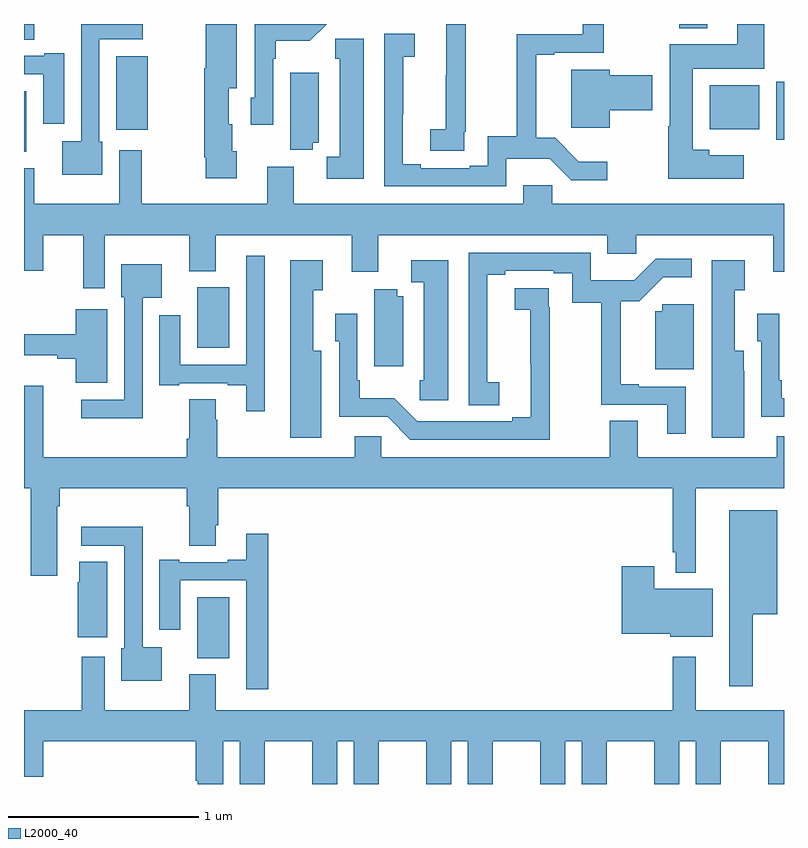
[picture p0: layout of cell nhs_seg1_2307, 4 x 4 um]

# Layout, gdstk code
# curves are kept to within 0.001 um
import gdstk
lib = gdstk.Library(unit=1e-6, precision=1e-09)
def R(c, l, rs):  # rectangles x0, y0, x1, y1
    for r in rs: c.add(gdstk.rectangle(r[:2], r[2:], *l))
def P(c, l, *ps):  # polygons
    for p in ps: c.add(gdstk.Polygon(p, *l))
L2000_40 = (2000, 40)

nhs_seg1_2307 = lib.new_cell('nhs_seg1_2307')
R(nhs_seg1_2307, L2000_40, [(237.911,526.862,238.081,527.182), (237.911,528.494,238.081,528.814), (237,529.526,237.013,529.846), (240.959,529.589,241,529.894), (237.485,529.643,237.652,530.029), (240.608,529.646,240.871,529.876), (237,530.116,237.055,530.199), (240.448,530.177,240.595,530.199)])
P(nhs_seg1_2307, L2000_40, [(240.787,529.507),(240.607,529.507),(240.607,529.537),(240.52,529.537),(240.52,529.964),(240.895,529.964),(240.895,530.199),(240.755,530.199),(240.755,530.092),(240.398,530.092),(240.398,529.661),(240.391,529.661),(240.391,529.385),(240.787,529.385)],
  [(237.412,529.578),(237.396,529.578),(237.396,530.118),(237.625,530.118),(237.625,530.199),(237.3,530.199),(237.3,529.582),(237.2,529.582),(237.2,529.406),(237.412,529.406)],
  [(239.318,529.633),(239.324,529.633),(239.324,530.199),(239.222,530.199),(239.222,529.929),(239.221,529.929),(239.221,529.646),(239.139,529.646),(239.139,529.531),(239.318,529.531)],
  [(239.538,529.49),(239.767,529.49),(239.88,529.377),(240.07,529.377),(240.07,529.474),(239.921,529.474),(239.795,529.6),(239.696,529.6),(239.696,530.037),(239.791,530.037),(239.791,530.049),(240.052,530.049),(240.052,530.199),(239.942,530.199),(239.942,530.145),(239.593,530.145),(239.593,529.607),(239.442,529.607),(239.442,529.454),(239.345,529.454),(239.345,529.44),(239.089,529.44),(239.089,529.46),(238.993,529.46),(238.993,529.723),(238.995,529.723),(238.995,530.027),(239.056,530.027),(239.056,530.147),(238.896,530.147),(238.896,529.344),(239.538,529.344)],
  [(238.311,530.015),(238.324,530.015),(238.324,530.111),(238.505,530.111),(238.593,530.199),(238.215,530.199),(238.215,529.812),(238.194,529.812),(238.194,529.668),(238.311,529.668)],
  [(238.12,529.53),(238.096,529.53),(238.096,529.671),(238.078,529.671),(238.078,529.862),(238.12,529.862),(238.12,530.199),(237.956,530.199),(237.956,529.966),(237.949,529.966),(237.949,529.498),(237.956,529.498),(237.956,529.386),(238.12,529.386)],
  [(238.789,530.122),(238.639,530.122),(238.639,530.016),(238.661,530.016),(238.661,529.5),(238.593,529.5),(238.593,529.385),(238.789,529.385)],
  [(237.211,530.044),(237.107,530.044),(237.107,530.031),(237,530.031),(237,529.935),(237.101,529.935),(237.101,529.674),(237.211,529.674)],
  [(240.082,529.745),(240.307,529.745),(240.307,529.928),(240.082,529.928),(240.082,529.957),(239.879,529.957),(239.879,529.652),(240.082,529.652)],
  [(238.52,529.574),(238.552,529.574),(238.552,529.942),(238.4,529.942),(238.4,529.537),(238.52,529.537)],
  [(237.424,529.088),(237.869,529.088),(237.869,528.899),(238.009,528.899),(238.009,529.088),(238.724,529.088),(238.724,528.894),(238.864,528.894),(238.864,529.088),(240.071,529.088),(240.071,528.99),(240.223,528.99),(240.223,529.088),(240.944,529.088),(240.944,528.894),(241,528.894),(241,529.252),(239.779,529.252),(239.779,529.35),(239.627,529.35),(239.627,529.252),(238.42,529.252),(238.42,529.447),(238.28,529.447),(238.28,529.252),(237.621,529.252),(237.621,529.534),(237.5,529.534),(237.5,529.252),(237.055,529.252),(237.055,529.441),(237,529.441),(237,528.9),(237.1,528.9),(237.1,529.088),(237.311,529.088),(237.311,528.807),(237.424,528.807)],
  [(240.484,528.291),(240.235,528.291),(240.235,528.304),(240.14,528.304),(240.14,528.741),(240.239,528.741),(240.365,528.866),(240.514,528.866),(240.514,528.963),(240.324,528.963),(240.211,528.85),(239.982,528.85),(239.982,528.996),(239.34,528.996),(239.34,528.193),(239.5,528.193),(239.5,528.313),(239.439,528.313),(239.439,528.617),(239.437,528.617),(239.437,528.88),(239.533,528.88),(239.533,528.9),(239.789,528.9),(239.789,528.886),(239.886,528.886),(239.886,528.733),(240.037,528.733),(240.037,528.195),(240.386,528.195),(240.386,528.042),(240.484,528.042)],
  [(238.267,528.979),(238.17,528.979),(238.17,528.405),(237.823,528.405),(237.823,528.667),(237.713,528.667),(237.713,528.297),(237.817,528.297),(237.817,528.309),(238.073,528.309),(238.073,528.297),(238.169,528.297),(238.169,528.162),(238.267,528.162)],
  [(240.79,528.374),(240.789,528.374),(240.789,528.478),(240.742,528.478),(240.742,528.799),(240.793,528.799),(240.793,528.955),(240.62,528.955),(240.62,528.021),(240.79,528.021)],
  [(239.233,528.955),(239.037,528.955),(239.037,528.84),(239.105,528.84),(239.105,528.324),(239.083,528.324),(239.083,528.219),(239.233,528.219)],
  [(238.564,528.478),(238.522,528.478),(238.522,528.799),(238.573,528.799),(238.573,528.955),(238.4,528.955),(238.4,528.021),(238.564,528.021)],
  [(237.624,528.758),(237.724,528.758),(237.724,528.934),(237.512,528.934),(237.512,528.762),(237.528,528.762),(237.528,528.222),(237.3,528.222),(237.3,528.125),(237.624,528.125)],
  [(239.768,528.707),(239.762,528.707),(239.762,528.809),(239.583,528.809),(239.583,528.694),(239.665,528.694),(239.666,528.128),(239.57,528.128),(239.57,528.108),(239.07,528.108),(238.949,528.229),(238.768,528.229),(238.768,528.325),(238.755,528.325),(238.755,528.673),(238.638,528.673),(238.638,528.528),(238.659,528.528),(238.659,528.132),(238.914,528.132),(239.034,528.012),(239.768,528.012)],
  [(238.996,528.766),(238.964,528.766),(238.964,528.803),(238.844,528.803),(238.844,528.399),(238.996,528.399)],
  [(240.526,528.724),(240.36,528.724),(240.36,528.688),(240.323,528.688),(240.323,528.383),(240.526,528.383)],
  [(237.439,528.697),(237.272,528.697),(237.272,528.565),(237,528.565),(237,528.455),(237.176,528.455),(237.176,528.436),(237.272,528.436),(237.272,528.311),(237.439,528.311)],
  [(241,528.229),(240.988,528.229),(240.988,528.325),(240.975,528.325),(240.975,528.673),(240.858,528.673),(240.858,528.528),(240.879,528.528),(240.879,528.132),(241,528.132)],
  [(238.017,528.116),(238.009,528.116),(238.009,528.224),(237.869,528.224),(237.869,528.016),(237.857,528.016),(237.857,527.92),(237.1,527.92),(237.1,528.295),(237,528.295),(237,527.756),(237.035,527.756),(237.035,527.295),(237.175,527.295),(237.175,527.66),(237.188,527.66),(237.188,527.756),(237.857,527.756),(237.857,527.66),(237.869,527.66),(237.869,527.452),(238.009,527.452),(238.009,527.56),(238.022,527.56),(238.022,527.756),(240.414,527.756),(240.414,527.419),(240.431,527.419),(240.431,527.312),(240.535,527.312),(240.535,527.756),(241,527.756),(241,528.03),(240.962,528.03),(240.962,527.92),(240.229,527.92),(240.229,528.11),(240.082,528.11),(240.082,527.92),(238.881,527.92),(238.881,528.03),(238.742,528.03),(238.742,527.92),(238.017,527.92)],
  [(240.835,527.093),(240.964,527.093),(240.964,527.641),(240.713,527.641),(240.713,526.713),(240.835,526.713)],
  [(237.724,526.918),(237.624,526.918),(237.624,527.552),(237.3,527.552),(237.3,527.454),(237.528,527.454),(237.528,526.914),(237.512,526.914),(237.512,526.742),(237.724,526.742)],
  [(238.286,527.515),(238.169,527.515),(238.169,527.38),(238.073,527.38),(238.073,527.367),(237.817,527.367),(237.817,527.38),(237.713,527.38),(237.713,527.01),(237.823,527.01),(237.823,527.271),(238.17,527.271),(238.17,526.698),(238.286,526.698)],
  [(237.439,527.369),(237.29,527.369),(237.29,527.261),(237.283,527.261),(237.283,526.971),(237.439,526.971)],
  [(240.625,527.227),(240.316,527.227),(240.316,527.344),(240.146,527.344),(240.146,526.991),(240.402,526.991),(240.402,526.973),(240.625,526.973)],
  [(238.009,526.777),(237.869,526.777),(237.869,526.588),(237.424,526.588),(237.424,526.87),(237.304,526.87),(237.304,526.588),(237,526.588),(237,526.236),(237.1,526.236),(237.1,526.424),(237.905,526.424),(237.905,526.216),(237.914,526.216),(237.914,526.199),(238.048,526.199),(238.048,526.424),(238.136,526.424),(238.136,526.199),(238.266,526.199),(238.266,526.216),(238.267,526.216),(238.267,526.424),(238.517,526.424),(238.517,526.216),(238.518,526.216),(238.518,526.199),(238.648,526.199),(238.648,526.424),(238.736,526.424),(238.736,526.199),(238.866,526.199),(238.866,526.216),(238.867,526.216),(238.867,526.424),(239.117,526.424),(239.117,526.216),(239.118,526.216),(239.118,526.199),(239.248,526.199),(239.248,526.424),(239.336,526.424),(239.336,526.199),(239.466,526.199),(239.466,526.216),(239.467,526.216),(239.467,526.424),(239.717,526.424),(239.717,526.216),(239.718,526.216),(239.718,526.199),(239.848,526.199),(239.848,526.424),(239.936,526.424),(239.936,526.199),(240.066,526.199),(240.066,526.216),(240.067,526.216),(240.067,526.424),(240.317,526.424),(240.317,526.216),(240.318,526.216),(240.318,526.199),(240.448,526.199),(240.448,526.424),(240.536,526.424),(240.536,526.199),(240.666,526.199),(240.666,526.216),(240.667,526.216),(240.667,526.424),(240.917,526.424),(240.917,526.216),(240.918,526.216),(240.918,526.199),(241,526.199),(241,526.588),(240.535,526.588),(240.535,526.87),(240.414,526.87),(240.414,526.588),(238.009,526.588)])

lib.write_gds('nhs_seg1_2307.gds')
